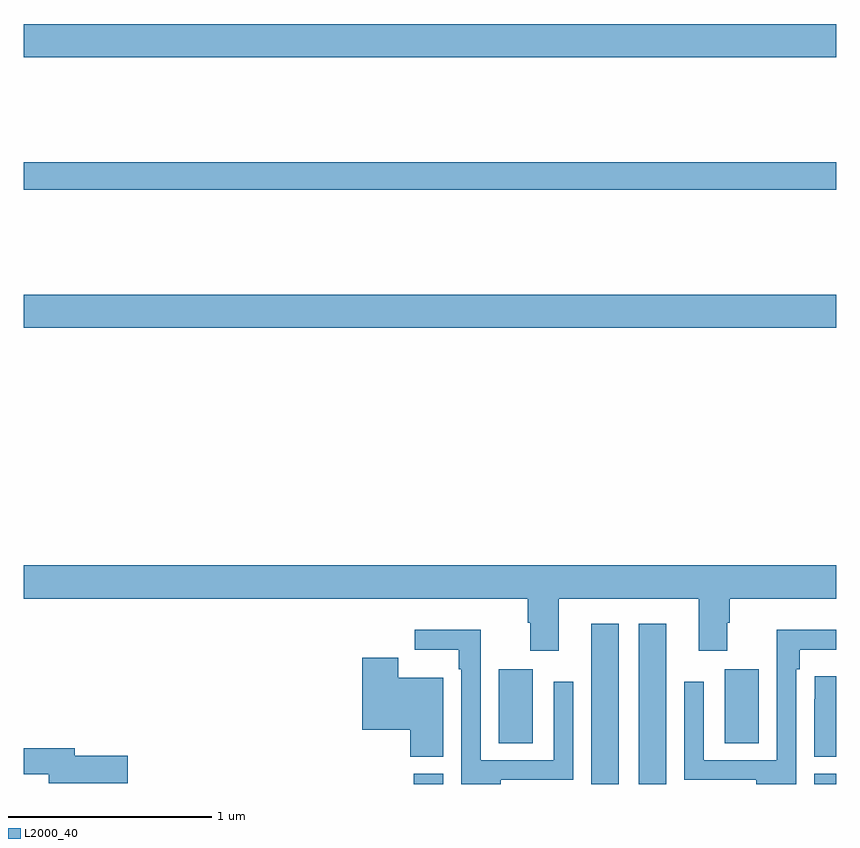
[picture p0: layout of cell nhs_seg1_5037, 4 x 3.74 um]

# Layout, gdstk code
import gdstk
lib = gdstk.Library(unit=1e-6, precision=1e-09)
def R(c, l, rs):  # rectangles x0, y0, x1, y1
    for r in rs: c.add(gdstk.rectangle(r[:2], r[2:], *l))
def P(c, l, *ps):  # polygons
    for p in ps: c.add(gdstk.Polygon(p, *l))
L2000_40 = (2000, 40)

nhs_seg1_5037 = lib.new_cell('nhs_seg1_5037')
R(nhs_seg1_5037, L2000_40, [(386.921,504.199,387.064,504.249), (387.794,504.199,387.928,504.988), (388.028,504.199,388.162,504.988), (388.892,504.199,389,504.249), (387.338,504.4,387.505,504.763), (388.451,504.4,388.618,504.763), (385,506.444,389,506.608), (385,507.124,389,507.26), (385,507.776,389,507.94)])
P(nhs_seg1_5037, L2000_40, [(387.634,505.112),(388.322,505.112),(388.322,504.855),(388.462,504.855),(388.462,504.992),(388.475,504.992),(388.475,505.112),(389,505.112),(389,505.276),(385,505.276),(385,505.112),(387.482,505.112),(387.482,504.992),(387.494,504.992),(387.494,504.855),(387.634,504.855)],
  [(388.803,504.764),(388.819,504.764),(388.819,504.86),(389,504.86),(389,504.958),(388.707,504.958),(388.707,504.315),(388.347,504.315),(388.347,504.703),(388.251,504.703),(388.251,504.219),(388.607,504.219),(388.607,504.199),(388.803,504.199)],
  [(387.349,504.219),(387.705,504.219),(387.705,504.703),(387.609,504.703),(387.609,504.315),(387.249,504.315),(387.249,504.958),(386.925,504.958),(386.925,504.86),(387.141,504.86),(387.141,504.764),(387.153,504.764),(387.153,504.199),(387.349,504.199)],
  [(387.064,504.721),(386.844,504.721),(386.844,504.82),(386.666,504.82),(386.666,504.467),(386.903,504.467),(386.903,504.334),(387.064,504.334)],
  [(389,504.73),(388.893,504.73),(388.893,504.617),(388.892,504.617),(388.892,504.334),(389,504.334)],
  [(385.513,504.338),(385.252,504.338),(385.252,504.374),(385,504.374),(385,504.246),(385.124,504.246),(385.124,504.203),(385.513,504.203)])

lib.write_gds('nhs_seg1_5037.gds')
